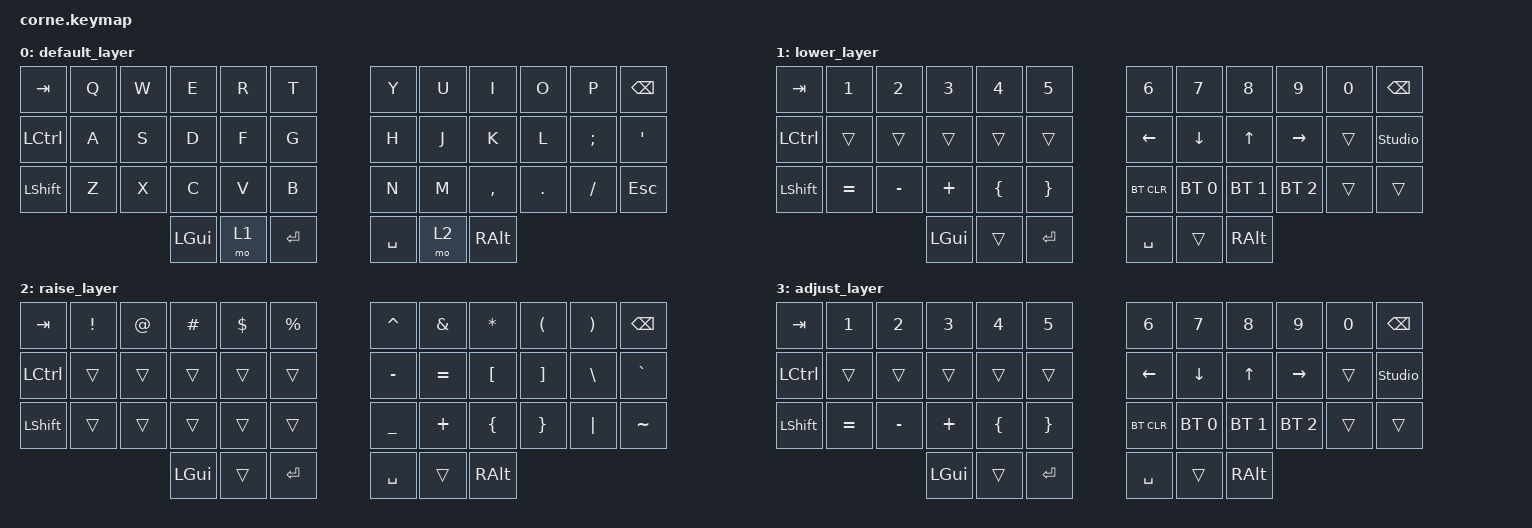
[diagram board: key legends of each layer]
/*
 * Copyright (c) 2020 The ZMK Contributors
 *
 * SPDX-License-Identifier: MIT
 */

#include <behaviors.dtsi>
#include <dt-bindings/zmk/keys.h>
#include <dt-bindings/zmk/bt.h>
#include <dt-bindings/zmk/pointing.h>   /* ← Add this */

/* Pointing defaults - tune these as needed */
#define ZMK_POINTING_DEFAULT_MOVE_VAL 800   /* higher = faster cursor (default ~600) */
#define ZMK_POINTING_DEFAULT_SCRL_VAL 40    /* scroll speed */
/ {
        keymap {
                compatible = "zmk,keymap";

                default_layer {
// -----------------------------------------------------------------------------------------
// |  TAB |  Q  |  W  |  E  |  R  |  T  |   |  Y  |  U   |  I  |  O  |  P  | BSPC |
// | CTRL |  A  |  S  |  D  |  F  |  G  |   |  H  |  J   |  K  |  L  |  ;  |  '   |
// | SHFT |  Z  |  X  |  C  |  V  |  B  |   |  N  |  M   |  ,  |  .  |  /  | ESC  |
//                    | GUI | LWR | ENT |   | SPC | RSE  | ALT |

    bindings = <
    &kp TAB   &kp Q &kp W &kp E &kp R &kp T     &kp Y &kp U &kp I &kp O &kp P &kp BSPC
    &kp LCTRL &kp A &kp S &kp D &kp F &kp G     &kp H &kp J &kp K &kp L &kp SEMI &kp SQT
    &kp LSHFT &kp Z &kp X &kp C &kp V &kp B     &kp N &kp M &kp COMMA &kp DOT &kp FSLH &kp ESC

               &kp LGUI &mo 1 &kp RET           &kp SPACE &mo 2 &kp RALT
    >;
};
                       
                lower_layer {
// -----------------------------------------------------------------------------------------
// |  TAB |  1  |  2  |  3  |  4  |  5  |   |  6  |  7  |  8  |  9  |  0  | BSPC |
// |      | BT1 | BT2 | BT3 | BT4 | BT5 |   | LFT | DWN |  UP | RGT |     |      |
// | SHFT |     |     |     |     |     |   |     |     |     |     |     |      |
//                    | GUI |     | SPC |   | ENT |     | ALT |
                        bindings = <
   &kp TAB &kp N1 &kp N2 &kp N3 &kp N4 &kp N5                      &kp N6   &kp N7   &kp N8 &kp N9    &kp N0 &kp BSPC
   &kp LCTRL  &trans &trans &trans &trans &trans                   &kp LEFT &kp DOWN &kp UP &kp RIGHT &trans &studio_unlock
   &kp LSHFT  &kp EQUAL &kp MINUS &kp PLUS &kp LBRC &kp RBRC       &bt BT_CLR &bt BT_SEL 0 &bt BT_SEL 1 &bt BT_SEL 2 &trans &trans
                &kp LGUI &trans &kp RET                            &kp SPACE  &trans   &kp RALT
                        >;
                };

                raise_layer {
// -----------------------------------------------------------------------------------------
// |  TAB |  !  |  @  |  #  |  $  |  %  |   |  ^  |  &  |  *  |  (  |  )  | BSPC |
// | CTRL |     |     |     |     |     |   |  -  |  =  |  [  |  ]  |  \  |  `   |
// | SHFT |     |     |     |     |     |   |  _  |  +  |  {  |  }  | "|" |  ~   |
//                    | GUI |     | SPC |   | ENT |     | ALT |
                        bindings = <
   &kp  TAB  &kp EXCL &kp AT &kp HASH &kp DLLR &kp PRCNT   &kp CARET &kp AMPS  &kp ASTRK &kp LPAR &kp RPAR &kp BSPC
   &kp LCTRL &trans   &trans &trans   &trans   &trans      &kp MINUS &kp EQUAL &kp LBKT  &kp RBKT &kp BSLH &kp GRAVE
   &kp LSHFT &trans   &trans &trans   &trans   &trans      &kp UNDER &kp PLUS  &kp LBRC  &kp RBRC &kp PIPE &kp TILDE
                             &kp LGUI &trans   &kp RET   &kp SPACE   &trans    &kp RALT
                        >;
                };

                adjust_layer{
                bindings = <
   &kp TAB &kp N1 &kp N2 &kp N3 &kp N4 &kp N5                      &kp N6   &kp N7   &kp N8 &kp N9    &kp N0 &kp BSPC
   &kp LCTRL  &trans &trans &trans &trans &trans                   &kp LEFT &kp DOWN &kp UP &kp RIGHT &trans &studio_unlock
   &kp LSHFT  &kp EQUAL &kp MINUS &kp PLUS &kp LBRC &kp RBRC       &bt BT_CLR &bt BT_SEL 0 &bt BT_SEL 1 &bt BT_SEL 2 &trans &trans
                &kp LGUI &trans &kp RET                            &kp SPACE  &trans   &kp RALT
                        >;
                };
        };
};
